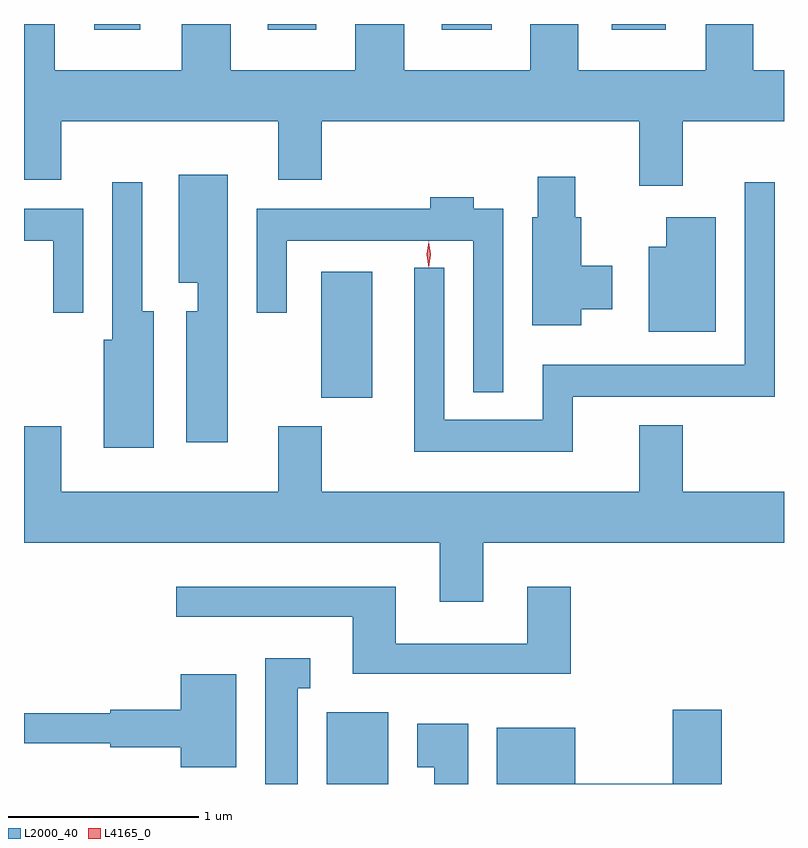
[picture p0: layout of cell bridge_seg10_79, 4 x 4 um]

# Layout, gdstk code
import gdstk
lib = gdstk.Library(unit=1e-6, precision=1e-09)
def R(c, l, rs):  # rectangles x0, y0, x1, y1
    for r in rs: c.add(gdstk.rectangle(r[:2], r[2:], *l))
def P(c, l, *ps):  # polygons
    for p in ps: c.add(gdstk.Polygon(p, *l))
L2000_40 = (2000, 40)
L4165_0 = (4165, 0)

bridge_seg10_79 = lib.new_cell('bridge_seg10_79')
R(bridge_seg10_79, L2000_40, [(1585.776,2170.367,1586.099,2170.744), (1585.746,2172.401,1586.014,2173.064), (1584.551,2174.336,1584.794,2174.367), (1585.466,2174.336,1585.719,2174.367), (1586.381,2174.336,1586.644,2174.367), (1587.276,2174.336,1587.559,2174.367)])
P(bridge_seg10_79, L2000_40, [(1587.649,2173.856),(1588.182,2173.856),(1588.182,2174.124),(1588.019,2174.124),(1588.019,2174.367),(1587.771,2174.367),(1587.771,2174.124),(1587.099,2174.124),(1587.099,2174.367),(1586.846,2174.367),(1586.846,2174.124),(1586.184,2174.124),(1586.184,2174.367),(1585.926,2174.367),(1585.926,2174.124),(1585.269,2174.124),(1585.269,2174.367),(1585.011,2174.367),(1585.011,2174.124),(1584.344,2174.124),(1584.344,2174.367),(1584.182,2174.367),(1584.182,2173.546),(1584.379,2173.546),(1584.379,2173.856),(1585.521,2173.856),(1585.521,2173.546),(1585.749,2173.546),(1585.749,2173.856),(1587.421,2173.856),(1587.421,2173.516),(1587.649,2173.516)],
  [(1585.254,2173.574),(1584.996,2173.574),(1584.996,2173.006),(1585.096,2173.006),(1585.096,2172.854),(1585.036,2172.854),(1585.036,2172.166),(1585.254,2172.166)],
  [(1587.114,2172.866),(1587.279,2172.866),(1587.279,2173.094),(1587.114,2173.094),(1587.114,2173.349),(1587.084,2173.349),(1587.084,2173.564),(1586.886,2173.564),(1586.886,2173.349),(1586.856,2173.349),(1586.856,2172.781),(1587.114,2172.781)],
  [(1587.069,2172.406),(1588.134,2172.406),(1588.134,2173.533),(1587.976,2173.533),(1587.976,2172.574),(1586.911,2172.574),(1586.911,2172.284),(1586.394,2172.284),(1586.394,2173.083),(1586.236,2173.083),(1586.236,2172.116),(1587.069,2172.116)],
  [(1584.864,2172.854),(1584.804,2172.854),(1584.804,2173.533),(1584.646,2173.533),(1584.646,2172.704),(1584.601,2172.704),(1584.601,2172.136),(1584.864,2172.136)],
  [(1586.704,2173.394),(1586.549,2173.394),(1586.549,2173.454),(1586.321,2173.454),(1586.321,2173.394),(1585.406,2173.394),(1585.406,2172.848),(1585.564,2172.848),(1585.564,2173.226),(1586.546,2173.226),(1586.546,2172.428),(1586.704,2172.428)],
  [(1584.494,2173.394),(1584.182,2173.394),(1584.182,2173.226),(1584.336,2173.226),(1584.336,2172.848),(1584.494,2172.848)],
  [(1587.824,2173.349),(1587.561,2173.349),(1587.561,2173.194),(1587.471,2173.194),(1587.471,2172.746),(1587.824,2172.746)],
  [(1586.599,2171.636),(1588.182,2171.636),(1588.182,2171.904),(1587.649,2171.904),(1587.649,2172.254),(1587.421,2172.254),(1587.421,2171.904),(1585.749,2171.904),(1585.749,2172.249),(1585.521,2172.249),(1585.521,2171.904),(1584.379,2171.904),(1584.379,2172.249),(1584.182,2172.249),(1584.182,2171.636),(1586.371,2171.636),(1586.371,2171.326),(1586.599,2171.326)],
  [(1587.059,2171.404),(1586.831,2171.404),(1586.831,2171.104),(1586.139,2171.104),(1586.139,2171.404),(1584.983,2171.404),(1584.983,2171.246),(1585.911,2171.246),(1585.911,2170.946),(1587.059,2170.946)],
  [(1585.624,2170.871),(1585.688,2170.871),(1585.688,2171.029),(1585.451,2171.029),(1585.451,2170.367),(1585.624,2170.367)],
  [(1585.299,2170.944),(1585.006,2170.944),(1585.006,2170.759),(1584.636,2170.759),(1584.636,2170.739),(1584.182,2170.739),(1584.182,2170.581),(1584.636,2170.581),(1584.636,2170.561),(1585.006,2170.561),(1585.006,2170.456),(1585.299,2170.456)],
  [(1587.854,2170.759),(1587.596,2170.759),(1587.596,2170.369),(1587.084,2170.369),(1587.084,2170.664),(1586.671,2170.664),(1586.671,2170.367),(1587.854,2170.367)],
  [(1586.519,2170.684),(1586.251,2170.684),(1586.251,2170.456),(1586.341,2170.456),(1586.341,2170.367),(1586.519,2170.367)])
P(bridge_seg10_79, L4165_0, [(1586.312,2173.084),(1586.312,2173.084),(1586.302,2173.153),(1586.312,2173.222),(1586.312,2173.223),(1586.313,2173.222),(1586.322,2173.153),(1586.313,2173.084)],
  [(1586.312,2173.087),(1586.303,2173.154),(1586.312,2173.22),(1586.313,2173.22),(1586.313,2173.22),(1586.323,2173.154),(1586.313,2173.087),(1586.313,2173.087)])

lib.write_gds('bridge_seg10_79.gds')
